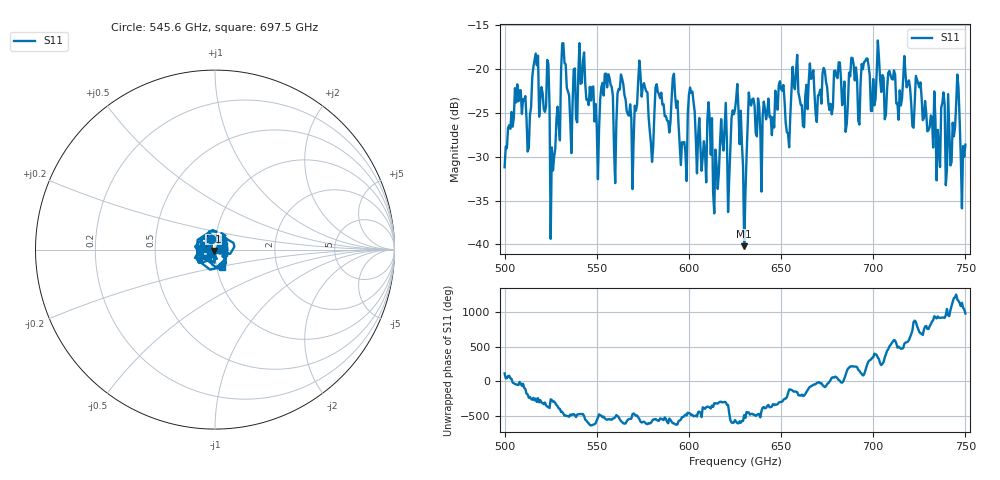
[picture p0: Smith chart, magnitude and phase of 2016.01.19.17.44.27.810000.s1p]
!Created with skrf (http://scikit-rf.org).
# GHz S RI R 50.0
!freq ReS11 ImS11
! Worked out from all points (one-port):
!   401 points, 500 GHz to 750 GHz, reference 50 ohm
!   lowest |S11| = -40.2 dB at 630 GHz (marker M1), VSWR 1.02, Z = 49.4 - j0.76 ohm
!   |S11| at or under -10 dB: start of sweep to end of sweep
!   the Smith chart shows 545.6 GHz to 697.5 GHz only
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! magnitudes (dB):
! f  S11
! 500 GHz  -31.2
! 506.9 GHz  -21.7
! 513.1 GHz  -29.0
! 516.9 GHz  -18.2
! 523.1 GHz  -18.9
! 526.2 GHz  -31.6
! 531.2 GHz  -17.1
! 535.6 GHz  -26.0
! 541.9 GHz  -21.6
! 550 GHz  -26.6
! 562.5 GHz  -22.3
! 568.8 GHz  -25.6
! 573.8 GHz  -20.7
! 579.4 GHz  -28.4
! 583.1 GHz  -22.6
! 593.8 GHz  -23.6
! 601.2 GHz  -22.7
! 608.1 GHz  -28.2
! 611.2 GHz  -25.6
! 614.4 GHz  -29.2
! 625 GHz  -24.6
! 630 GHz  -40.2
! 633.8 GHz  -24.2
! 653.8 GHz  -27.3
! 656.2 GHz  -19.7
! 687.5 GHz  -20.8
! 718.8 GHz  -21.6
! 750 GHz  -28.6
